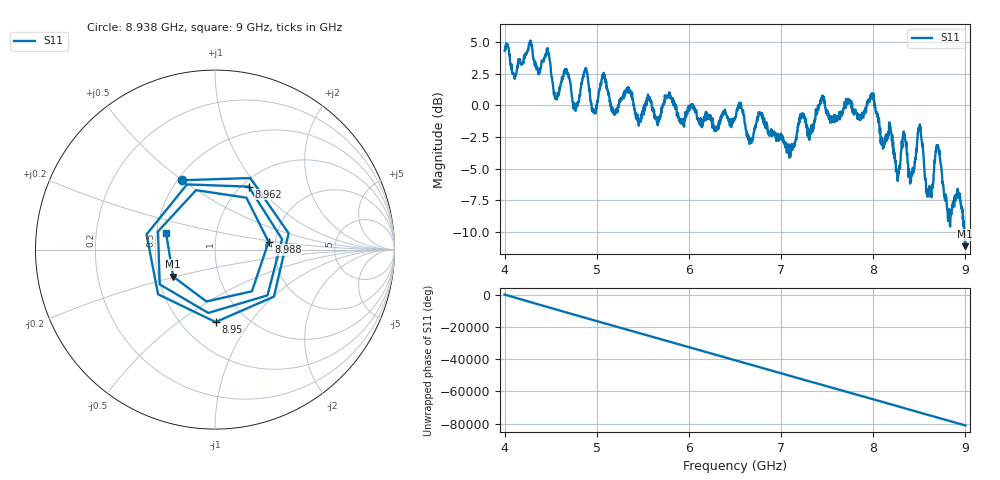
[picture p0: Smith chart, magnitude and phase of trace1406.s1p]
! Created with skrf 1.8.0 (http://scikit-rf.org).
# Hz S RI R 50.0
!freq ReS11 ImS11
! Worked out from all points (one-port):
!   1601 points, 4 GHz to 9 GHz, reference 50 ohm
!   lowest |S11| = -11.1 dB at 8.997 GHz (marker M1), VSWR 1.77, Z = 29.9 - j9.71 ohm
!   |S11| at or under -10 dB: 8.986345 GHz to end of sweep
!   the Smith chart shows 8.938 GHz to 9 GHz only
!   S11 on the Smith chart (normalised r, x): 8.938 GHz: 0.53, +0.50; 8.95 GHz: 0.72, -0.70; 8.962 GHz: 1.08, +0.90; 8.988 GHz: 1.84, +0.18; 9 GHz: 0.56, +0.11
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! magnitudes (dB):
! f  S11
! 4 GHz  4.3
! 4.106 GHz  2.3
! 4.625 GHz  2.2
! 4.766 GHz  -0.1
! 4.875 GHz  2.9
! 4.969 GHz  -0.5
! 5.075 GHz  2.6
! 5.25 GHz  0.4
! 5.875 GHz  -0.7
! 6.5 GHz  -1.0
! 7.125 GHz  -3.5
! 7.444 GHz  0.5
! 7.75 GHz  0.3
! 7.991 GHz  0.8
! 8.262 GHz  -5.8
! 8.334 GHz  -2.3
! 8.375 GHz  -4.6
! 8.425 GHz  -5.2
! 8.503 GHz  -1.6
! 8.6 GHz  -7.2
! 8.697 GHz  -3.2
! 8.822 GHz  -8.7
! 8.938 GHz  -7.4
! 8.95 GHz  -7.9
! 8.962 GHz  -8.0
! 8.988 GHz  -10.4
! 8.997 GHz  -11.1
! 9 GHz  -10.8
